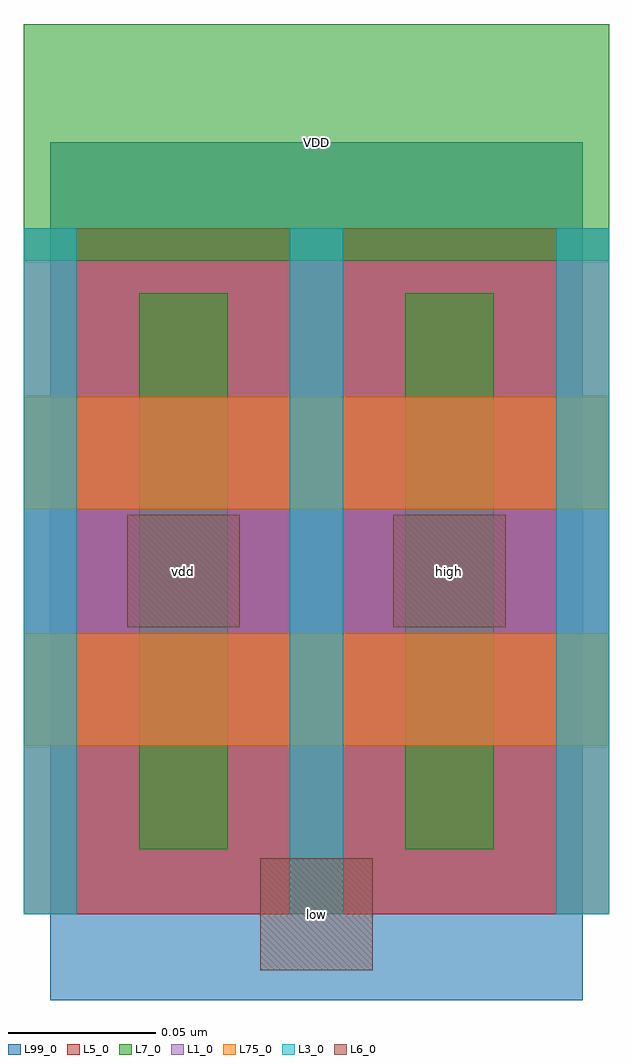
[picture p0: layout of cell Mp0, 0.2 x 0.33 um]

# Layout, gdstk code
import gdstk
lib = gdstk.Library(unit=1e-6, precision=1e-09)
def R(c, l, rs):  # rectangles x0, y0, x1, y1
    for r in rs: c.add(gdstk.rectangle(r[:2], r[2:], *l))
def A(c, l, x, y, w, h, nx, ny, dx, dy):  # array of equal rectangles
    R(c, l, [(x+i*dx, y+j*dy, x+i*dx+w, y+j*dy+h) for i in range(nx) for j in range(ny)])
L1_0 = (1, 0)
L3_0 = (3, 0)
L5_0 = (5, 0)
L6_0 = (6, 0)
L7_0 = (7, 0)
L75_0 = (75, 0)
L99_0 = (99, 0)

mp0 = lib.new_cell('Mp0')
R(mp0, L1_0, [(-0.09,0.057,0.108,0.175)])
A(mp0, L3_0, -0.09, 0, 0.018, 0.232, 3, 1, 0.09, 0)
R(mp0, L5_0, [(-0.09,0,0.108,0.232)])
R(mp0, L6_0, [(-0.01,-0.019,0.028,0.019), (-0.055,0.097,-0.017,0.135), (0.035,0.097,0.073,0.135)])
R(mp0, L7_0, [(-0.051,0.022,-0.021,0.21), (0.039,0.022,0.069,0.21), (-0.09,0.221,0.108,0.301)])
R(mp0, L75_0, [(-0.09,0.057,0.108,0.095), (-0.09,0.137,0.108,0.175)])
R(mp0, L99_0, [(-0.081,-0.029,0.099,0.261)])
mp0.add(gdstk.Label('VDD', (0.009,0.261), layer=7, texttype=0))
mp0.add(gdstk.Label('vdd', (-0.036,0.116), layer=63, texttype=0))
mp0.add(gdstk.Label('high', (0.054,0.116), layer=63, texttype=0))
mp0.add(gdstk.Label('low', (0.009,0), layer=63, texttype=0))

lib.write_gds('Mp0.gds')
